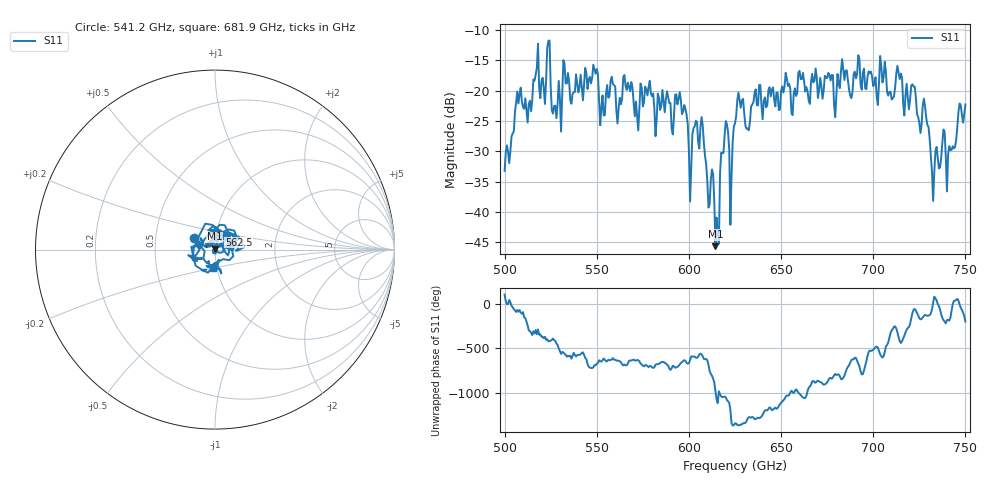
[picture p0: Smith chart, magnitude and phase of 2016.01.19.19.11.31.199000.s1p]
!Created with skrf (http://scikit-rf.org).
# GHz S RI R 50.0
!freq ReS11 ImS11
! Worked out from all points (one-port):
!   401 points, 500 GHz to 750 GHz, reference 50 ohm
!   lowest |S11| = -45.6 dB at 614.4 GHz (marker M1), VSWR 1.01, Z = 49.9 + j0.512 ohm
!   |S11| at or under -10 dB: start of sweep to end of sweep
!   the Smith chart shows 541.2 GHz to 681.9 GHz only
!   S11 on the Smith chart (normalised r, x): 541.2 GHz: 0.78, +0.10; 562.5 GHz: 1.04, +0.18; 681.9 GHz: 0.96, -0.20
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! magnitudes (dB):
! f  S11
! 500 GHz  -33.2
! 507.5 GHz  -22.1
! 516.9 GHz  -17.3
! 520.6 GHz  -17.9
! 523.8 GHz  -11.8
! 526.9 GHz  -22.5
! 531.2 GHz  -20.7
! 541.2 GHz  -17.3
! 549.4 GHz  -17.2
! 553.1 GHz  -20.8
! 558.8 GHz  -18.9
! 562.5 GHz  -21.2
! 593.8 GHz  -22.2
! 600.6 GHz  -38.3
! 607.5 GHz  -25.8
! 614.4 GHz  -45.6
! 615.6 GHz  -43.9
! 619.4 GHz  -27.3
! 623.1 GHz  -34.0
! 625 GHz  -25.4
! 656.2 GHz  -24.0
! 681.9 GHz  -19.6
! 687.5 GHz  -20.8
! 705 GHz  -18.6
! 718.8 GHz  -21.1
! 728.1 GHz  -22.6
! 732.5 GHz  -38.2
! 750 GHz  -22.3
